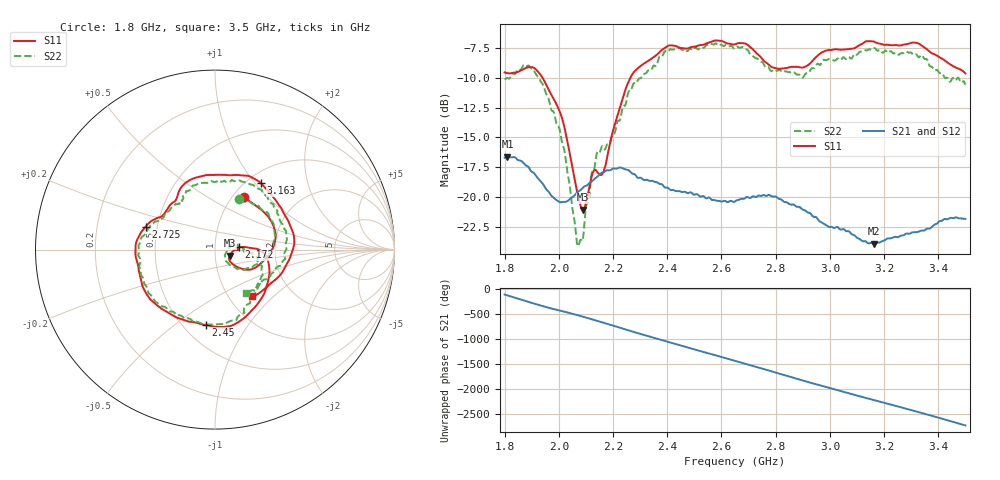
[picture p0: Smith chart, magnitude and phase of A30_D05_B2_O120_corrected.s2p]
! Created with skrf 1.9.0 (http://scikit-rf.org).
# Hz S RI R 50.0
!freq ReS11 ImS11 ReS21 ImS21 ReS12 ImS12 ReS22 ImS22
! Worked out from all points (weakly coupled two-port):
!   1601 points, 1.8 GHz to 3.5 GHz, reference 50 ohm
!   highest |S21| = -16.62 dB at 1.811 GHz (marker M1); lowest = -23.9 dB at 3.162 GHz (marker M2)
!   lowest |S11| = -21.1 dB at 2.09 GHz (marker M3), VSWR 1.19, Z = 58.8 - j3.93 ohm
!   |S11| at or under -10 dB: 1.94 GHz to 2.264 GHz (323.2 MHz wide, 15.4 % of centre)
!   |S22| runs from -24.2 to -7.1 dB; largest |S21 - S12| = 0.0027
!   S11 on the Smith chart (normalised r, x): 1.8 GHz: 1.13, +0.74; 2.172 GHz: 1.31, +0.03; 2.45 GHz: 0.64, -0.65; 2.725 GHz: 0.43, +0.13; 3.163 GHz: 1.16, +1.07; 3.5 GHz: 1.27, -0.74
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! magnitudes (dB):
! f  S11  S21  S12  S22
! 1.8 GHz  -9.5  -16.7  -16.7  -10.1
! 1.811 GHz  -9.6  -16.6  -16.6  -10.0
! 1.886 GHz  -9.1  -17.4  -17.5  -9.0
! 1.941 GHz  -10.0  -18.9  -18.9  -10.6
! 2.011 GHz  -13.3  -20.4  -20.4  -15.4
! 2.066 GHz  -19.4  -19.7  -19.7  -23.7
! 2.084 GHz  -20.9  -19.4  -19.3  -23.6
! 2.09 GHz  -21.1  -19.2  -19.2  -23.3
! 2.134 GHz  -17.7  -18.5  -18.5  -17.3
! 2.172 GHz  -17.4  -17.8  -17.9  -15.9
! 2.261 GHz  -10.1  -17.8  -17.8  -11.1
! 2.367 GHz  -7.9  -18.8  -18.8  -8.4
! 2.45 GHz  -7.5  -19.6  -19.6  -7.6
! 2.65 GHz  -7.2  -20.4  -20.4  -7.5
! 2.725 GHz  -7.8  -20.0  -20.0  -8.3
! 2.803 GHz  -9.2  -20.0  -20.0  -9.4
! 2.934 GHz  -8.6  -21.5  -21.5  -9.2
! 3.162 GHz  -6.9  -23.9  -23.9  -7.5
! 3.163 GHz  -6.9  -23.9  -23.9  -7.5
! 3.217 GHz  -7.2  -23.5  -23.5  -7.8
! 3.325 GHz  -7.1  -22.9  -22.9  -8.2
! 3.5 GHz  -9.6  -21.9  -21.8  -10.6
